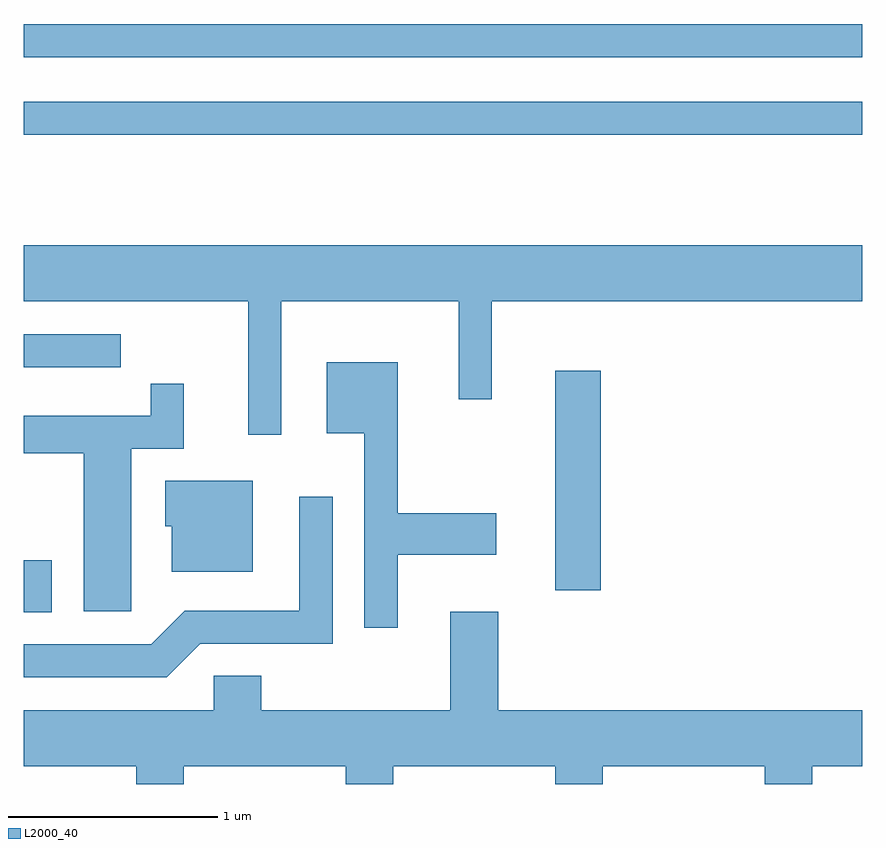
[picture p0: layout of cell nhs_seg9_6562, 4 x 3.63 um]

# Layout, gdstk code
import gdstk
lib = gdstk.Library(unit=1e-6, precision=1e-09)
def R(c, l, rs):  # rectangles x0, y0, x1, y1
    for r in rs: c.add(gdstk.rectangle(r[:2], r[2:], *l))
def P(c, l, *ps):  # polygons
    for p in ps: c.add(gdstk.Polygon(p, *l))
L2000_40 = (2000, 40)

nhs_seg9_6562 = lib.new_cell('nhs_seg9_6562')
R(nhs_seg9_6562, L2000_40, [(379.611,1959.251,379.744,1959.499), (382.146,1959.356,382.364,1960.404), (379.611,1960.421,380.073,1960.579), (379.611,1961.531,383.611,1961.689), (379.611,1961.901,383.611,1962.059)])
P(nhs_seg9_6562, L2000_40, [(380.839,1960.736),(381.686,1960.736),(381.686,1960.268),(381.844,1960.268),(381.844,1960.736),(383.611,1960.736),(383.611,1961.004),(379.611,1961.004),(379.611,1960.736),(380.681,1960.736),(380.681,1960.098),(380.839,1960.098)],
  [(381.394,1959.526),(381.864,1959.526),(381.864,1959.724),(381.394,1959.724),(381.394,1960.444),(381.056,1960.444),(381.056,1960.106),(381.236,1960.106),(381.236,1959.178),(381.394,1959.178)],
  [(380.124,1960.031),(380.374,1960.031),(380.374,1960.343),(380.216,1960.343),(380.216,1960.189),(379.611,1960.189),(379.611,1960.011),(379.896,1960.011),(379.896,1959.256),(380.124,1959.256)],
  [(380.704,1959.879),(380.286,1959.879),(380.286,1959.661),(380.316,1959.661),(380.316,1959.446),(380.704,1959.446)],
  [(380.452,1959.101),(381.084,1959.101),(381.084,1959.803),(380.926,1959.803),(380.926,1959.259),(380.379,1959.259),(380.219,1959.099),(379.611,1959.099),(379.611,1958.941),(380.292,1958.941)],
  [(380.374,1958.516),(381.146,1958.516),(381.146,1958.432),(381.374,1958.432),(381.374,1958.516),(382.146,1958.516),(382.146,1958.432),(382.374,1958.432),(382.374,1958.516),(383.146,1958.516),(383.146,1958.432),(383.374,1958.432),(383.374,1958.516),(383.611,1958.516),(383.611,1958.784),(381.874,1958.784),(381.874,1959.254),(381.646,1959.254),(381.646,1958.784),(380.744,1958.784),(380.744,1958.949),(380.516,1958.949),(380.516,1958.784),(379.611,1958.784),(379.611,1958.516),(380.146,1958.516),(380.146,1958.432),(380.374,1958.432)])

lib.write_gds('nhs_seg9_6562.gds')
